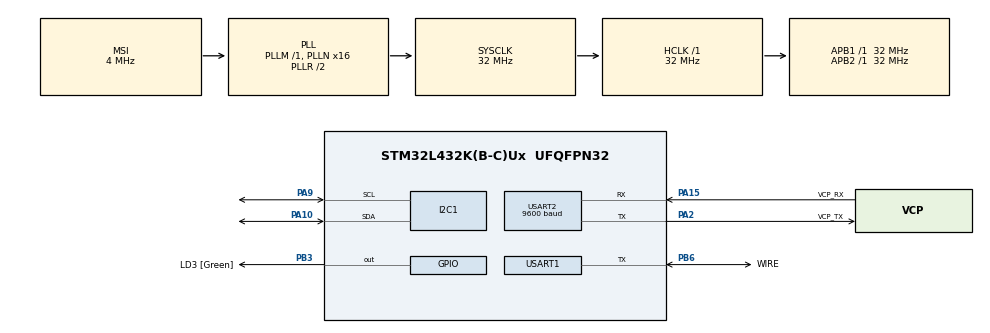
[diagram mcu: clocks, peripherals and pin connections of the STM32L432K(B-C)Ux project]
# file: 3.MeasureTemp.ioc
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I2C1.Timing=0x00707CBB
Mcu.Family=STM32L4
Mcu.Name=STM32L432K(B-C)Ux
Mcu.Package=UFQFPN32
NVIC.PriorityGroup=NVIC_PRIORITYGROUP_4
NVIC.TIM6_DAC_IRQn=true\:0\:0\:false\:false\:true\:true\:true\:true
PA0.GPIO_Label=MCO [High speed clock in]
PA0.Mode=HSE-External-Clock-Source-for-LittleOrca
PA0.Signal=RCC_CK_IN
PA10.Mode=I2C
PA10.Signal=I2C1_SDA
PA13\ (JTMS-SWDIO).GPIO_Label=SWDIO
PA13\ (JTMS-SWDIO).Mode=Serial_Wire
PA13\ (JTMS-SWDIO).Signal=SYS_JTMS-SWDIO
PA14\ (JTCK-SWCLK).GPIO_Label=SWCLK
PA14\ (JTCK-SWCLK).Mode=Serial_Wire
PA14\ (JTCK-SWCLK).Signal=SYS_JTCK-SWCLK
PA15\ (JTDI).GPIO_Label=VCP_RX
PA15\ (JTDI).Mode=Asynchronous
PA15\ (JTDI).Signal=USART2_RX
PA2.GPIO_Label=VCP_TX
PA2.Mode=Asynchronous
PA2.Signal=USART2_TX
PA9.Mode=I2C
PA9.Signal=I2C1_SCL
PB3\ (JTDO-TRACESWO).GPIO_Label=LD3 [Green]
PB3\ (JTDO-TRACESWO).Signal=GPIO_Output
PB6.GPIO_Label=WIRE
PB6.GPIO_ModeDefaultPP=GPIO_MODE_AF_OD
PB6.Mode=Half_duplex(single_wire_mode)
PB6.Signal=USART1_TX
PC14-OSC32_IN\ (PC14).Mode=LSE-External-Oscillator
PC14-OSC32_IN\ (PC14).Signal=RCC_OSC32_IN
PC15-OSC32_OUT\ (PC15).Mode=LSE-External-Oscillator
PC15-OSC32_OUT\ (PC15).Signal=RCC_OSC32_OUT
ProjectManager.HeapSize=0x200
ProjectManager.StackSize=0x400
ProjectManager.TargetToolchain=STM32CubeIDE
RCC.AHBFreq_Value=32000000
RCC.APB1Freq_Value=32000000
RCC.APB1TimFreq_Value=32000000
RCC.APB2Freq_Value=32000000
RCC.APB2TimFreq_Value=32000000
RCC.CortexFreq_Value=32000000
RCC.HCLKFreq_Value=32000000
RCC.HSE_VALUE=8000000
RCC.HSI16_VALUE=16000000
RCC.HSI48_VALUE=48000000
RCC.HSI_VALUE=16000000
RCC.MSI_VALUE=4000000
RCC.PLLMUL=RCC_PLLMUL_4
RCC.PLLN=16
RCC.SYSCLKFreq_VALUE=32000000
RCC.SYSCLKSource=RCC_SYSCLKSOURCE_PLLCLK
RCC.VCOOutputFreq_Value=64000000
TIM6.Period=999
TIM6.Prescaler=3199
USART1.OverrunDisableParam=ADVFEATURE_OVERRUN_DISABLE
USART1.VirtualMode-Half_duplex(single_wire_mode)=VM_ASYNC
USART2.BaudRate=9600
USART2.VirtualMode-Asynchronous=VM_ASYNC
VP_TIM6_VS_ClockSourceINT.Mode=Enable_Timer
board=NUCLEO-L432KC

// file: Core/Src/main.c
/* USER CODE BEGIN Header */
/**
  ******************************************************************************
  * @file           : main.c
  * @brief          : Main program body
  ******************************************************************************
  * @attention
  *
  * Copyright (c) 2023 STMicroelectronics.
  * All rights reserved.
  *
  * This software is licensed under terms that can be found in the LICENSE file
  * in the root directory of this software component.
  * If no LICENSE file comes with this software, it is provided AS-IS.
  *
  ******************************************************************************
  */
/* USER CODE END Header */
#include "main.h"

/* USER CODE BEGIN Includes */
#include "ds18b20.h"
#include "DFR0646-G.h"
/* USER CODE END Includes */

I2C_HandleTypeDef hi2c1;

TIM_HandleTypeDef htim6;

UART_HandleTypeDef huart1;
UART_HandleTypeDef huart2;

/* USER CODE BEGIN PV */
const uint8_t ds1[] = { 0x28, 0x79, 0xde, 0x81, 0xe3, 0x0c, 0x3c, 0xc9 };
const uint8_t ds2[] = { 0x28, 0x5d, 0xdd, 0x6b, 0xa1, 0x21, 0x01, 0xca };
volatile float temp1, temp2;
uint8_t TX_Buffer[50];
uint8_t TX_Buffer_length;
/* USER CODE END PV */

void SystemClock_Config(void);
static void MX_GPIO_Init(void);
static void MX_USART2_UART_Init(void);
static void MX_USART1_UART_Init(void);
static void MX_I2C1_Init(void);
static void MX_TIM6_Init(void);
void HAL_TIM_PeriodElapsedCallback(TIM_HandleTypeDef *htim);

int main(void)
{

  /* MCU Configuration--------------------------------------------------------*/

  /* Reset of all peripherals, Initializes the Flash interface and the Systick. */
  HAL_Init();

  /* Configure the system clock */
  SystemClock_Config();

  /* Initialize all configured peripherals */
  MX_GPIO_Init();
  MX_USART2_UART_Init();
  MX_USART1_UART_Init();
  MX_I2C1_Init();
  MX_TIM6_Init();
  /* USER CODE BEGIN 2 */

  HAL_TIM_Base_Start_IT(&htim6);
  display_begin(&hi2c1, 0);
//  uint8_t address[8];
//  ds18b20_read_address(address);

  /* USER CODE END 2 */

  /* Infinite loop */
  /* USER CODE BEGIN WHILE */
  while (1)
  {
	TX_Buffer_length = snprintf(TX_Buffer, sizeof(TX_Buffer), "Temp1: %.2f, Temp2: %.2f\r\n",temp1,temp2);
	HAL_UART_Transmit(&huart2, TX_Buffer, TX_Buffer_length,1000);
	HAL_Delay(1500);
    /* USER CODE END WHILE */

  }
}

void SystemClock_Config(void)
{
  RCC_OscInitTypeDef RCC_OscInitStruct = {0};
  RCC_ClkInitTypeDef RCC_ClkInitStruct = {0};

  /** Configure the main internal regulator output voltage
  */
  if (HAL_PWREx_ControlVoltageScaling(PWR_REGULATOR_VOLTAGE_SCALE1) != HAL_OK)
  {
    Error_Handler();
  }

  /** Configure LSE Drive Capability
  */
  HAL_PWR_EnableBkUpAccess();
  __HAL_RCC_LSEDRIVE_CONFIG(RCC_LSEDRIVE_LOW);

  /** Initializes the RCC Oscillators according to the specified parameters
  * in the RCC_OscInitTypeDef structure.
  */
  RCC_OscInitStruct.OscillatorType = RCC_OSCILLATORTYPE_LSE|RCC_OSCILLATORTYPE_MSI;
  RCC_OscInitStruct.LSEState = RCC_LSE_ON;
  RCC_OscInitStruct.MSIState = RCC_MSI_ON;
  RCC_OscInitStruct.MSICalibrationValue = 0;
  RCC_OscInitStruct.MSIClockRange = RCC_MSIRANGE_6;
  RCC_OscInitStruct.PLL.PLLState = RCC_PLL_ON;
  RCC_OscInitStruct.PLL.PLLSource = RCC_PLLSOURCE_MSI;
  RCC_OscInitStruct.PLL.PLLM = 1;
  RCC_OscInitStruct.PLL.PLLN = 16;
  RCC_OscInitStruct.PLL.PLLP = RCC_PLLP_DIV7;
  RCC_OscInitStruct.PLL.PLLQ = RCC_PLLQ_DIV2;
  RCC_OscInitStruct.PLL.PLLR = RCC_PLLR_DIV2;
  if (HAL_RCC_OscConfig(&RCC_OscInitStruct) != HAL_OK)
  {
    Error_Handler();
  }

  /** Initializes the CPU, AHB and APB buses clocks
  */
  RCC_ClkInitStruct.ClockType = RCC_CLOCKTYPE_HCLK|RCC_CLOCKTYPE_SYSCLK
                              |RCC_CLOCKTYPE_PCLK1|RCC_CLOCKTYPE_PCLK2;
  RCC_ClkInitStruct.SYSCLKSource = RCC_SYSCLKSOURCE_PLLCLK;
  RCC_ClkInitStruct.AHBCLKDivider = RCC_SYSCLK_DIV1;
  RCC_ClkInitStruct.APB1CLKDivider = RCC_HCLK_DIV1;
  RCC_ClkInitStruct.APB2CLKDivider = RCC_HCLK_DIV1;

  if (HAL_RCC_ClockConfig(&RCC_ClkInitStruct, FLASH_LATENCY_1) != HAL_OK)
  {
    Error_Handler();
  }

  /** Enable MSI Auto calibration
  */
  HAL_RCCEx_EnableMSIPLLMode();
}

static void MX_I2C1_Init(void)
{

  hi2c1.Instance = I2C1;
  hi2c1.Init.Timing = 0x00707CBB;
  hi2c1.Init.OwnAddress1 = 0;
  hi2c1.Init.AddressingMode = I2C_ADDRESSINGMODE_7BIT;
  hi2c1.Init.DualAddressMode = I2C_DUALADDRESS_DISABLE;
  hi2c1.Init.OwnAddress2 = 0;
  hi2c1.Init.OwnAddress2Masks = I2C_OA2_NOMASK;
  hi2c1.Init.GeneralCallMode = I2C_GENERALCALL_DISABLE;
  hi2c1.Init.NoStretchMode = I2C_NOSTRETCH_DISABLE;
  if (HAL_I2C_Init(&hi2c1) != HAL_OK)
  {
    Error_Handler();
  }

  /** Configure Analogue filter
  */
  if (HAL_I2CEx_ConfigAnalogFilter(&hi2c1, I2C_ANALOGFILTER_ENABLE) != HAL_OK)
  {
    Error_Handler();
  }

  /** Configure Digital filter
  */
  if (HAL_I2CEx_ConfigDigitalFilter(&hi2c1, 0) != HAL_OK)
  {
    Error_Handler();
  }

}

static void MX_TIM6_Init(void)
{

  TIM_MasterConfigTypeDef sMasterConfig = {0};

  htim6.Instance = TIM6;
  htim6.Init.Prescaler = 3199;
  htim6.Init.CounterMode = TIM_COUNTERMODE_UP;
  htim6.Init.Period = 999;
  htim6.Init.AutoReloadPreload = TIM_AUTORELOAD_PRELOAD_DISABLE;
  if (HAL_TIM_Base_Init(&htim6) != HAL_OK)
  {
    Error_Handler();
  }
  sMasterConfig.MasterOutputTrigger = TIM_TRGO_RESET;
  sMasterConfig.MasterSlaveMode = TIM_MASTERSLAVEMODE_DISABLE;
  if (HAL_TIMEx_MasterConfigSynchronization(&htim6, &sMasterConfig) != HAL_OK)
  {
    Error_Handler();
  }

}

static void MX_USART1_UART_Init(void)
{

  huart1.Instance = USART1;
  huart1.Init.BaudRate = 115200;
  huart1.Init.WordLength = UART_WORDLENGTH_8B;
  huart1.Init.StopBits = UART_STOPBITS_1;
  huart1.Init.Parity = UART_PARITY_NONE;
  huart1.Init.Mode = UART_MODE_TX_RX;
  huart1.Init.HwFlowCtl = UART_HWCONTROL_NONE;
  huart1.Init.OverSampling = UART_OVERSAMPLING_16;
  huart1.Init.OneBitSampling = UART_ONE_BIT_SAMPLE_DISABLE;
  huart1.AdvancedInit.AdvFeatureInit = UART_ADVFEATURE_RXOVERRUNDISABLE_INIT;
  huart1.AdvancedInit.OverrunDisable = UART_ADVFEATURE_OVERRUN_DISABLE;
  if (HAL_HalfDuplex_Init(&huart1) != HAL_OK)
  {
    Error_Handler();
  }

}

static void MX_USART2_UART_Init(void)
{

  huart2.Instance = USART2;
  huart2.Init.BaudRate = 9600;
  huart2.Init.WordLength = UART_WORDLENGTH_8B;
  huart2.Init.StopBits = UART_STOPBITS_1;
  huart2.Init.Parity = UART_PARITY_NONE;
  huart2.Init.Mode = UART_MODE_TX_RX;
  huart2.Init.HwFlowCtl = UART_HWCONTROL_NONE;
  huart2.Init.OverSampling = UART_OVERSAMPLING_16;
  huart2.Init.OneBitSampling = UART_ONE_BIT_SAMPLE_DISABLE;
  huart2.AdvancedInit.AdvFeatureInit = UART_ADVFEATURE_NO_INIT;
  if (HAL_UART_Init(&huart2) != HAL_OK)
  {
    Error_Handler();
  }

}

static void MX_GPIO_Init(void)
{
  GPIO_InitTypeDef GPIO_InitStruct = {0};

  /* GPIO Ports Clock Enable */
  __HAL_RCC_GPIOC_CLK_ENABLE();
  __HAL_RCC_GPIOA_CLK_ENABLE();
  __HAL_RCC_GPIOB_CLK_ENABLE();

  /*Configure GPIO pin Output Level */
  HAL_GPIO_WritePin(LD3_GPIO_Port, LD3_Pin, GPIO_PIN_RESET);

  /*Configure GPIO pin : LD3_Pin */
  GPIO_InitStruct.Pin = LD3_Pin;
  GPIO_InitStruct.Mode = GPIO_MODE_OUTPUT_PP;
  GPIO_InitStruct.Pull = GPIO_NOPULL;
  GPIO_InitStruct.Speed = GPIO_SPEED_FREQ_LOW;
  HAL_GPIO_Init(LD3_GPIO_Port, &GPIO_InitStruct);

}

/* USER CODE BEGIN 4 */
void HAL_TIM_PeriodElapsedCallback(TIM_HandleTypeDef *htim){
	if(htim -> Instance == TIM6){
		display_print_two(&hi2c1, 0, (double)temp1, (double)temp2); //previous measurment
		ds18b20_start_measure(ds2);
		temp2 = ds18b20_get_temp(ds2);
		ds18b20_start_measure(ds1);
		temp1 = ds18b20_get_temp(ds1);
	}
}
/* USER CODE END 4 */

void Error_Handler(void)
{
  __disable_irq();
  while (1)
  {
  }
}
